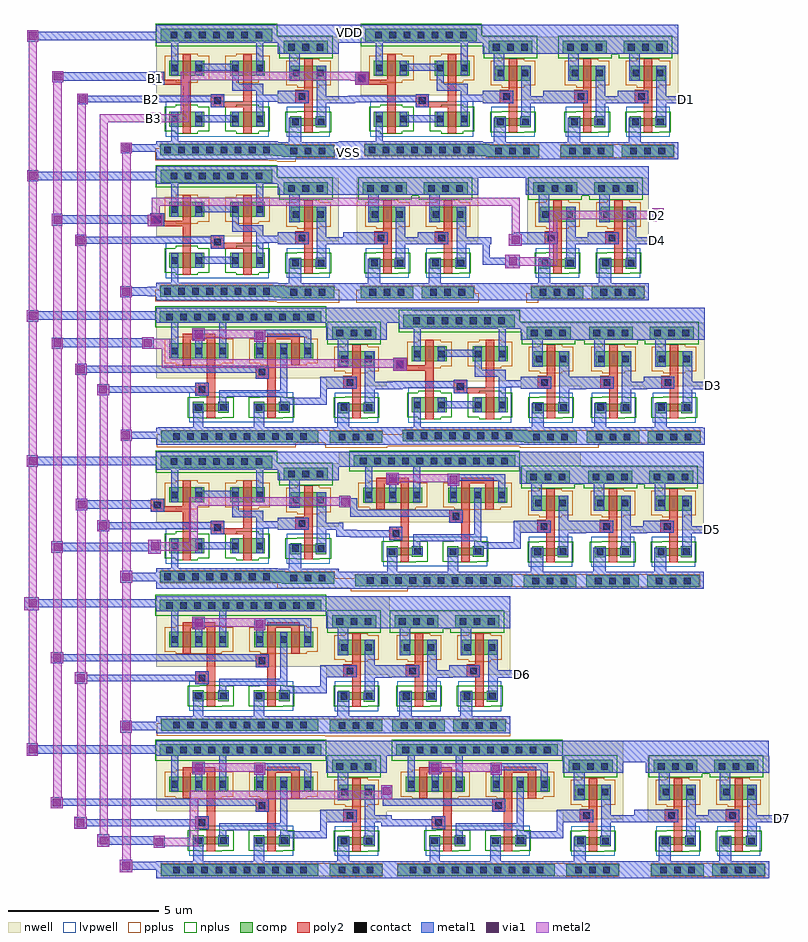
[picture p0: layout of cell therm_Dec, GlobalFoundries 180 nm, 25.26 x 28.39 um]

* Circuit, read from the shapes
.subckt therm_Dec B1 B2 B3 D1 D2 D3 D4 D5 D6 D7 VDD VSS
XM1 AND_5/SD1 B2 VSS VSS nfet_03v3 w=0.5u l=0.28u
XM2 AND_11/SD1 B1 VSS VSS nfet_03v3 w=0.5u l=0.28u
XM3 AND_15/SD1 B1 VSS VSS nfet_03v3 w=0.5u l=0.28u
XM4 OR_2/SD2 B2 VSS VSS nfet_03v3 w=0.25u l=0.28u
XM5 OR_1/SD2 B2 VSS VSS nfet_03v3 w=0.25u l=0.28u
XM6 OR_8/SD2 B3 VSS VSS nfet_03v3 w=0.25u l=0.28u
XM7 AND_5/SD2 B3 AND_5/SD1 VSS nfet_03v3 w=0.5u l=0.28u
XM8 AND_11/SD2 B2 AND_11/SD1 VSS nfet_03v3 w=0.5u l=0.28u
XM9 AND_15/SD2 B2 AND_15/SD1 VSS nfet_03v3 w=0.5u l=0.28u
XM10 OR_2/SD2 B1 VSS VSS nfet_03v3 w=0.25u l=0.28u
XM11 OR_1/SD2 B1 VSS VSS nfet_03v3 w=0.25u l=0.28u
XM12 OR_8/SD2 B2 VSS VSS nfet_03v3 w=0.25u l=0.28u
XM13 OR_6/B AND_5/SD2 VSS VSS nfet_03v3 w=0.25u l=0.28u
XM14 INV_BUFF_12/IN AND_11/SD2 VSS VSS nfet_03v3 w=0.25u l=0.28u
XM15 AND_14/B AND_15/SD2 VSS VSS nfet_03v3 w=0.25u l=0.28u
XM16 OR_3/B OR_2/SD2 VSS VSS nfet_03v3 w=0.25u l=0.28u
XM17 INV_BUFF_0/IN OR_1/SD2 VSS VSS nfet_03v3 w=0.25u l=0.28u
XM18 AND_9/B OR_8/SD2 VSS VSS nfet_03v3 w=0.25u l=0.28u
XM19 INV_BUFF_12/SD1 INV_BUFF_12/IN VSS VSS nfet_03v3 w=0.25u l=0.28u
XM20 AND_14/SD1 B3 VSS VSS nfet_03v3 w=0.5u l=0.28u
XM21 OR_6/SD2 OR_6/B VSS VSS nfet_03v3 w=0.25u l=0.28u
XM22 INV_BUFF_0/SD1 INV_BUFF_0/IN VSS VSS nfet_03v3 w=0.25u l=0.28u
XM23 AND_9/SD1 B1 VSS VSS nfet_03v3 w=0.5u l=0.28u
XM24 OR_3/SD2 OR_3/B VSS VSS nfet_03v3 w=0.25u l=0.28u
XM25 D2 INV_BUFF_12/SD1 VSS VSS nfet_03v3 w=0.25u l=0.28u
XM26 AND_14/SD2 AND_14/B AND_14/SD1 VSS nfet_03v3 w=0.5u l=0.28u
XM27 OR_6/SD2 B1 VSS VSS nfet_03v3 w=0.25u l=0.28u
XM28 D6 INV_BUFF_0/SD1 VSS VSS nfet_03v3 w=0.25u l=0.28u
XM29 AND_9/SD2 AND_9/B AND_9/SD1 VSS nfet_03v3 w=0.5u l=0.28u
XM30 OR_3/SD2 B3 VSS VSS nfet_03v3 w=0.25u l=0.28u
XM31 INV_BUFF_16/IN AND_14/SD2 VSS VSS nfet_03v3 w=0.25u l=0.28u
XM32 INV_BUFF_7/IN OR_6/SD2 VSS VSS nfet_03v3 w=0.25u l=0.28u
XM33 INV_BUFF_10/IN AND_9/SD2 VSS VSS nfet_03v3 w=0.25u l=0.28u
XM34 INV_BUFF_13/SD1 B1 VSS VSS nfet_03v3 w=0.25u l=0.28u
XM35 INV_BUFF_16/SD1 INV_BUFF_16/IN VSS VSS nfet_03v3 w=0.25u l=0.28u
XM36 INV_BUFF_4/IN OR_3/SD2 VSS VSS nfet_03v3 w=0.25u l=0.28u
XM37 INV_BUFF_7/SD1 INV_BUFF_7/IN VSS VSS nfet_03v3 w=0.25u l=0.28u
XM38 INV_BUFF_10/SD1 INV_BUFF_10/IN VSS VSS nfet_03v3 w=0.25u l=0.28u
XM39 D4 INV_BUFF_13/SD1 VSS VSS nfet_03v3 w=0.25u l=0.28u
XM40 D1 INV_BUFF_16/SD1 VSS VSS nfet_03v3 w=0.25u l=0.28u
XM41 D5 INV_BUFF_7/SD1 VSS VSS nfet_03v3 w=0.25u l=0.28u
XM42 D3 INV_BUFF_10/SD1 VSS VSS nfet_03v3 w=0.25u l=0.28u
XM43 INV_BUFF_4/SD1 INV_BUFF_4/IN VSS VSS nfet_03v3 w=0.25u l=0.28u
XM44 D7 INV_BUFF_4/SD1 VSS VSS nfet_03v3 w=0.25u l=0.28u
XM45 OR_2/SD1 B2 VDD VDD pfet_03v3 w=0.5u l=0.28u m=2
XM46 OR_1/SD1 B2 VDD VDD pfet_03v3 w=0.5u l=0.28u m=2
XM47 AND_5/SD2 B2 VDD VDD pfet_03v3 w=0.5u l=0.28u
XM48 OR_8/SD1 B3 VDD VDD pfet_03v3 w=0.5u l=0.28u m=2
XM49 AND_11/SD2 B1 VDD VDD pfet_03v3 w=0.5u l=0.28u
XM50 AND_15/SD2 B1 VDD VDD pfet_03v3 w=0.5u l=0.28u
XM51 VDD B3 AND_5/SD2 VDD pfet_03v3 w=0.5u l=0.28u
XM52 VDD B2 AND_11/SD2 VDD pfet_03v3 w=0.5u l=0.28u
XM53 VDD B2 AND_15/SD2 VDD pfet_03v3 w=0.5u l=0.28u
XM54 OR_2/SD2 B1 OR_2/SD1 VDD pfet_03v3 w=0.5u l=0.28u m=2
XM55 OR_1/SD2 B1 OR_1/SD1 VDD pfet_03v3 w=0.5u l=0.28u m=2
XM56 OR_8/SD2 B2 OR_8/SD1 VDD pfet_03v3 w=0.5u l=0.28u m=2
XM57 OR_6/B AND_5/SD2 VDD VDD pfet_03v3 w=0.5u l=0.28u
XM58 INV_BUFF_12/IN AND_11/SD2 VDD VDD pfet_03v3 w=0.5u l=0.28u
XM59 AND_14/B AND_15/SD2 VDD VDD pfet_03v3 w=0.5u l=0.28u
XM60 OR_3/B OR_2/SD2 VDD VDD pfet_03v3 w=0.5u l=0.28u
XM61 INV_BUFF_0/IN OR_1/SD2 VDD VDD pfet_03v3 w=0.5u l=0.28u
XM62 AND_9/B OR_8/SD2 VDD VDD pfet_03v3 w=0.5u l=0.28u
XM63 OR_6/SD1 OR_6/B VDD VDD pfet_03v3 w=0.5u l=0.28u m=2
XM64 INV_BUFF_12/SD1 INV_BUFF_12/IN VDD VDD pfet_03v3 w=0.5u l=0.28u
XM65 AND_14/SD2 B3 VDD VDD pfet_03v3 w=0.5u l=0.28u
XM66 INV_BUFF_0/SD1 INV_BUFF_0/IN VDD VDD pfet_03v3 w=0.5u l=0.28u
XM67 OR_3/SD1 OR_3/B VDD VDD pfet_03v3 w=0.5u l=0.28u m=2
XM68 AND_9/SD2 B1 VDD VDD pfet_03v3 w=0.5u l=0.28u
XM69 D2 INV_BUFF_12/SD1 VDD VDD pfet_03v3 w=0.5u l=0.28u
XM70 VDD AND_14/B AND_14/SD2 VDD pfet_03v3 w=0.5u l=0.28u
XM71 OR_6/SD2 B1 OR_6/SD1 VDD pfet_03v3 w=0.5u l=0.28u m=2
XM72 D6 INV_BUFF_0/SD1 VDD VDD pfet_03v3 w=0.5u l=0.28u
XM73 VDD AND_9/B AND_9/SD2 VDD pfet_03v3 w=0.5u l=0.28u
XM74 OR_3/SD2 B3 OR_3/SD1 VDD pfet_03v3 w=0.5u l=0.28u m=2
XM75 INV_BUFF_16/IN AND_14/SD2 VDD VDD pfet_03v3 w=0.5u l=0.28u
XM76 INV_BUFF_7/IN OR_6/SD2 VDD VDD pfet_03v3 w=0.5u l=0.28u
XM77 INV_BUFF_10/IN AND_9/SD2 VDD VDD pfet_03v3 w=0.5u l=0.28u
XM78 INV_BUFF_13/SD1 B1 VDD VDD pfet_03v3 w=0.5u l=0.28u
XM79 INV_BUFF_16/SD1 INV_BUFF_16/IN VDD VDD pfet_03v3 w=0.5u l=0.28u
XM80 INV_BUFF_4/IN OR_3/SD2 VDD VDD pfet_03v3 w=0.5u l=0.28u
XM81 INV_BUFF_7/SD1 INV_BUFF_7/IN VDD VDD pfet_03v3 w=0.5u l=0.28u
XM82 INV_BUFF_10/SD1 INV_BUFF_10/IN VDD VDD pfet_03v3 w=0.5u l=0.28u
XM83 D4 INV_BUFF_13/SD1 VDD VDD pfet_03v3 w=0.5u l=0.28u
XM84 D1 INV_BUFF_16/SD1 VDD VDD pfet_03v3 w=0.5u l=0.28u
XM85 D5 INV_BUFF_7/SD1 VDD VDD pfet_03v3 w=0.5u l=0.28u
XM86 D3 INV_BUFF_10/SD1 VDD VDD pfet_03v3 w=0.5u l=0.28u
XM87 INV_BUFF_4/SD1 INV_BUFF_4/IN VDD VDD pfet_03v3 w=0.5u l=0.28u
XM88 D7 INV_BUFF_4/SD1 VDD VDD pfet_03v3 w=0.5u l=0.28u
.ends

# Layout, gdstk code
import gdstk
lib = gdstk.Library(unit=1e-6, precision=1e-09)
def R(c, l, rs):  # rectangles x0, y0, x1, y1
    for r in rs: c.add(gdstk.rectangle(r[:2], r[2:], *l))
def A(c, l, x, y, w, h, nx, ny, dx, dy):  # array of equal rectangles
    R(c, l, [(x+i*dx, y+j*dy, x+i*dx+w, y+j*dy+h) for i in range(nx) for j in range(ny)])
nwell = (21, 0)
comp = (22, 0)
poly2 = (30, 0)
pplus = (31, 0)
nplus = (32, 0)
contact = (33, 0)
metal1 = (34, 0)
via1 = (35, 0)
metal2 = (36, 0)
lvpwell = (204, 0)

pmos_3p3_m8rwps = lib.new_cell('pmos_3p3_M8RWPS')
R(pmos_3p3_m8rwps, nwell, [(-1.01,-0.9,1.01,0.9)])
R(pmos_3p3_m8rwps, comp, [(-0.58,-0.25,0.58,0.25)])
R(pmos_3p3_m8rwps, poly2, [(-0.14,-0.47,0.14,0.47)])
R(pmos_3p3_m8rwps, pplus, [(-0.37,-0.48,0.37,-0.41), (-0.74,-0.41,0.74,0.41), (-0.37,0.41,0.37,0.48)])
R(pmos_3p3_m8rwps, contact, [(-0.51,-0.11,-0.29,0.11), (0.29,-0.11,0.51,0.11)])
R(pmos_3p3_m8rwps, metal1, [(-0.515,-0.24,-0.285,0.24), (0.285,-0.24,0.515,0.24)])

nmos_3p3_h9qvwa = lib.new_cell('nmos_3p3_H9QVWA')
R(nmos_3p3_h9qvwa, comp, [(-0.6,-0.18,-0.24,-0.125), (0.24,-0.18,0.6,-0.125), (-0.6,-0.125,0.6,0.125), (-0.6,0.125,-0.24,0.18), (0.24,0.125,0.6,0.18)])
R(nmos_3p3_h9qvwa, poly2, [(-0.14,-0.345,0.14,0.345)])
R(nmos_3p3_h9qvwa, nplus, [(-0.37,-0.355,0.37,-0.34), (-0.76,-0.34,0.76,0.34), (-0.37,0.34,0.37,0.355)])
R(nmos_3p3_h9qvwa, contact, [(-0.53,-0.11,-0.31,0.11), (0.31,-0.11,0.53,0.11)])
R(nmos_3p3_h9qvwa, metal1, [(-0.59,-0.115,-0.25,0.115), (0.25,-0.115,0.59,0.115)])
R(nmos_3p3_h9qvwa, lvpwell, [(-0.72,-0.495,0.72,0.495)])

inverter = lib.new_cell('Inverter')
R(inverter, nwell, [(-0.59,0.79,0.43,1.195), (0.005,1.195,0.43,1.225), (-0.21,1.525,0.14,2.43), (-0.59,2.43,1.43,2.995)])
R(inverter, comp, [(-0.46,-1,1.28,-0.615), (-0.39,2.435,1.07,2.86)])
R(inverter, poly2, [(0.28,0.51,0.56,0.79), (-0.015,0.79,0.56,1.225), (0.28,1.225,0.56,1.315)])
R(inverter, pplus, [(-0.48,-1.02,1.3,-0.595), (-0.46,-0.595,1.275,-0.585)])
R(inverter, nplus, [(-0.55,2.275,1.23,3.02)])
A(inverter, contact, -0.175, -0.915, 0.22, 0.22, 3, 1, 0.47, 0)
A(inverter, contact, -0.245, 2.535, 0.22, 0.22, 3, 1, 0.47, 0)
R(inverter, contact, [(0.1,0.895,0.32,1.115)])
R(inverter, metal1, [(-0.59,-1.07,1.43,-0.505), (-0.225,-0.505,0.18,0.305), (0.7,0.045,1.02,0.785), (0.7,0.785,1.43,1.02), (-0.59,0.79,0.43,1.195), (0.7,1.02,1.02,2.035), (-0.21,1.525,0.14,2.43), (-0.59,2.43,1.43,2.995)])
inverter.add(gdstk.Reference(pmos_3p3_m8rwps, (0.42,1.785)))
inverter.add(gdstk.Reference(nmos_3p3_h9qvwa, (0.42,0.165)))
inverter.add(gdstk.Label('VDD', (0.335,2.65), layer=22, texttype=0))
inverter.add(gdstk.Label('VSS', (0.405,-0.81), layer=22, texttype=0))
inverter.add(gdstk.Label('IN', (-0.475,0.995), layer=34, texttype=10))
inverter.add(gdstk.Label('OUT', (1.36,0.86), layer=34, texttype=10))

inv_buff = lib.new_cell('INV_BUFF')
R(inv_buff, pplus, [(1.89,0.05,2.13,0.475), (1.865,0.475,2.15,0.485)])
R(inv_buff, nplus, [(1.82,3.475,2.06,4.09)])
R(inv_buff, metal1, [(-0.055,0,0,0.01), (-0.055,0.01,3.99,0.29), (-0.055,0.29,0,0.565), (1.975,1.855,2.135,2.09), (3.805,1.855,4.29,2.09), (-0.45,1.86,0.405,2.265), (-0.055,3.5,0,3.71), (-0.055,3.71,4.025,4.065)])
inv_buff.add(gdstk.Reference(inverter, (0.59,1.07)))
inv_buff.add(gdstk.Reference(inverter, (2.61,1.07)))
inv_buff.add(gdstk.Label('IN', (-0.245,2.035), layer=34, texttype=10))
inv_buff.add(gdstk.Label('OUT', (4.21,1.965), layer=34, texttype=10))
inv_buff.add(gdstk.Label('VDD', (1.9,3.8), layer=34, texttype=10))
inv_buff.add(gdstk.Label('VSS', (2,0.2), layer=34, texttype=10))
inv_buff.add(gdstk.Label('SD1', (2,1.9), layer=34, texttype=10))

pmos_3p3_mgrwps = lib.new_cell('pmos_3p3_MGRWPS')
R(pmos_3p3_mgrwps, nwell, [(-1.41,-0.9,1.41,0.9)])
R(pmos_3p3_mgrwps, comp, [(-0.98,-0.25,0.98,0.25)])
R(pmos_3p3_mgrwps, poly2, [(-0.54,-0.47,-0.26,0.47), (0.26,-0.47,0.54,0.47)])
R(pmos_3p3_mgrwps, pplus, [(-0.77,-0.48,0.77,-0.41), (-1.14,-0.41,1.14,0.41), (-0.77,0.41,0.77,0.48)])
A(pmos_3p3_mgrwps, contact, -0.91, -0.11, 0.22, 0.22, 3, 1, 0.8, 0)
A(pmos_3p3_mgrwps, metal1, -0.915, -0.24, 0.23, 0.48, 3, 1, 0.8, 0)

c_or = lib.new_cell('OR')
R(c_or, nwell, [(4.49,1.805,4.77,1.9), (3.69,2.755,4.77,2.95), (0.87,2.905,1.95,2.94), (0,3.23,5.64,3.315), (0,3.315,7.66,3.81)])
R(c_or, comp, [(0.17,-0.665,5.385,-0.285), (0.12,3.315,5.48,3.69)])
R(c_or, poly2, [(1.67,0.84,1.95,0.875), (3.69,0.84,3.97,1.45), (1.29,0.875,1.95,1.31), (1.67,1.31,1.95,1.9), (3.295,1.45,3.97,1.885), (3.69,1.885,3.97,1.9), (3.69,2.755,4.77,2.95), (0.87,2.76,1.95,2.94)])
R(c_or, pplus, [(0.15,-0.685,5.75,-0.275), (0.15,-0.275,5.77,-0.265)])
R(c_or, nplus, [(-0.04,3.155,5.64,3.85)])
A(c_or, contact, 0.555, -0.585, 0.22, 0.22, 10, 1, 0.47, 0)
A(c_or, contact, 0.32, 3.395, 0.22, 0.22, 11, 1, 0.47, 0)
R(c_or, contact, [(1.405,0.985,1.625,1.205), (3.405,1.555,3.625,1.775)])
R(c_or, metal1, [(0,-0.75,7.57,-0.185), (1.22,-0.185,1.56,0.61), (3.24,-0.185,3.58,0.61), (2.06,0.38,2.4,0.61), (4.08,0.38,4.42,0.58), (4.08,0.58,5.67,0.61), (2.095,0.61,2.325,0.84), (4.115,0.61,5.67,0.81), (4.115,0.81,4.345,0.84), (5.44,0.81,5.67,1.11), (2.095,0.84,4.345,1.07), (1.29,0.875,1.735,0.975), (0,0.975,1.735,1.205), (4.115,1.07,4.345,2.61), (7.425,1.105,7.83,1.34), (5.44,1.11,6.07,1.515), (1.29,1.205,1.735,1.31), (3.295,1.45,3.74,1.65), (0,1.65,3.74,1.88), (3.295,1.88,3.74,1.885), (0.495,2.13,0.725,3.315), (1.295,2.13,1.525,2.75), (2.095,2.13,2.325,3.315), (3.315,2.13,3.545,2.68), (4.915,2.13,5.145,2.84), (6.02,2.49,6.37,3.095), (3.245,2.68,3.615,2.84), (1.21,2.75,1.605,3.07), (3.245,2.84,5.145,3.07), (3.245,3.07,3.615,3.08), (5.64,3.095,7.635,3.315), (0,3.315,7.66,3.81)])
R(c_or, via1, [(3.3,2.75,3.56,3.01), (1.28,2.795,1.54,3.055)])
R(c_or, metal2, [(3.245,2.68,3.615,2.79), (1.195,2.705,1.615,2.79), (1.195,2.79,3.615,3.07), (1.195,3.07,1.615,3.12), (3.245,3.07,3.615,3.08)])
R(c_or, lvpwell, [(2.53,0,3.11,0.99)])
c_or.add(gdstk.Reference(pmos_3p3_mgrwps, (1.41,2.37)))
c_or.add(gdstk.Reference(pmos_3p3_mgrwps, (4.23,2.37)))
c_or.add(gdstk.Reference(nmos_3p3_h9qvwa, (1.81,0.495)))
c_or.add(gdstk.Reference(nmos_3p3_h9qvwa, (3.83,0.495)))
c_or.add(gdstk.Reference(inverter, (6.23,0.32)))
c_or.add(gdstk.Label('A', (0.065,1.765), layer=34, texttype=10))
c_or.add(gdstk.Label('B', (0.105,1.085), layer=34, texttype=10))
c_or.add(gdstk.Label('VSS', (2.78,-0.47), layer=22, texttype=0))
c_or.add(gdstk.Label('VDD', (2.775,3.515), layer=22, texttype=0))
c_or.add(gdstk.Label('OUT', (7.71,1.195), layer=34, texttype=10))
c_or.add(gdstk.Label('SD1', (3.45,2.4), layer=34, texttype=10))
c_or.add(gdstk.Label('SD2', (2.2,0.5), layer=34, texttype=10))

nmos_3p3_hzs5ua = lib.new_cell('nmos_3p3_HZS5UA')
R(nmos_3p3_hzs5ua, comp, [(-0.58,-0.25,0.58,0.25)])
R(nmos_3p3_hzs5ua, poly2, [(-0.14,-0.47,0.14,0.47)])
R(nmos_3p3_hzs5ua, nplus, [(-0.37,-0.48,0.37,-0.41), (-0.74,-0.41,0.74,0.41), (-0.37,0.41,0.37,0.48)])
R(nmos_3p3_hzs5ua, contact, [(-0.51,-0.11,-0.29,0.11), (0.29,-0.11,0.51,0.11)])
R(nmos_3p3_hzs5ua, metal1, [(-0.515,-0.24,-0.285,0.24), (0.285,-0.24,0.515,0.24)])
R(nmos_3p3_hzs5ua, lvpwell, [(-0.7,-0.59,0.7,0.59)])

and_ = lib.new_cell('AND')
R(and_, nwell, [(0.34,1.775,0.54,1.955), (0.1,3.18,4.14,3.77)])
R(and_, comp, [(3.985,-0.58,4.365,-0.565), (0.23,-0.565,4.365,-0.2), (0.245,3.225,3.95,3.645)])
R(and_, poly2, [(1.915,1.035,3.265,1.11), (0.97,1.11,1.25,1.775), (1.915,1.11,3.27,1.22), (1.915,1.22,2.36,1.47), (2.99,1.22,3.27,1.865), (-0.09,1.775,1.25,1.93), (-0.09,1.93,1.025,1.955), (-0.09,1.955,0.355,2.21)])
R(and_, pplus, [(3.965,-0.6,4.385,-0.595), (0.25,-0.595,4.385,-0.585), (0.21,-0.585,4.385,-0.18), (0.25,-0.18,3.975,-0.175)])
R(and_, nplus, [(0.085,3.065,4.18,3.405), (0.085,3.405,4.11,3.805)])
A(and_, contact, 0.355, -0.495, 0.22, 0.22, 8, 1, 0.47, 0)
A(and_, contact, 0.575, 3.33, 0.22, 0.22, 7, 1, 0.47, 0)
R(and_, contact, [(2.025,1.145,2.245,1.365), (0.02,1.885,0.24,2.105)])
R(and_, metal1, [(0.1,-0.685,4.14,-0.095), (0.595,-0.095,0.825,0.88), (1.395,0.4,1.625,0.535), (2.615,0.4,2.845,0.535), (3.415,0.4,3.645,1.225), (1.395,0.535,2.845,0.765), (1.395,0.765,1.625,0.88), (2.615,0.765,2.845,0.88), (1.915,1.035,2.36,1.195), (5.925,1.17,6.315,1.405), (-0.09,1.195,2.36,1.425), (3.415,1.225,4.265,1.455), (1.915,1.425,2.36,1.47), (3.415,1.455,3.645,1.585), (2.615,1.585,3.645,1.815), (-0.09,1.775,0.355,2.21), (2.615,1.815,2.845,2.245), (0.595,2.095,0.825,3.18), (1.395,2.095,1.625,2.245), (3.415,2.095,3.645,3.18), (1.395,2.245,2.845,2.475), (1.395,2.475,1.625,2.575), (2.615,2.475,2.845,2.575), (0.1,3.18,4.14,3.38), (0.1,3.38,6.16,3.77)])
R(and_, lvpwell, [(1.81,0.05,2.43,1.23), (2.465,1.035,3.265,1.08)])
and_.add(gdstk.Reference(pmos_3p3_m8rwps, (1.11,2.335)))
and_.add(gdstk.Reference(pmos_3p3_m8rwps, (3.13,2.335)))
and_.add(gdstk.Reference(nmos_3p3_hzs5ua, (3.13,0.64)))
and_.add(gdstk.Reference(nmos_3p3_hzs5ua, (1.11,0.64)))
and_.add(gdstk.Reference(inverter, (4.73,0.385)))
and_.add(gdstk.Label('VDD', (2.085,3.45), layer=22, texttype=0))
and_.add(gdstk.Label('VSS', (2.11,-0.365), layer=22, texttype=0))
and_.add(gdstk.Label('OUT', (6.225,1.295), layer=34, texttype=10))
and_.add(gdstk.Label('A', (0.125,1.99), layer=30, texttype=10))
and_.add(gdstk.Label('B', (0.075,1.26), layer=34, texttype=10))
and_.add(gdstk.Label('SD1', (1.5,0.65), layer=34, texttype=10))
and_.add(gdstk.Label('SD2', (2.7,2.35), layer=34, texttype=10))

therm_dec = lib.new_cell('therm_Dec')
R(therm_dec, nwell, [(7.85,-21.68,8.09,-21.2), (7.675,-21.2,8.09,-20.845), (7.85,-20.845,8.09,-19.34), (7.85,-17.135,7.95,-14.53), (14.295,-12.43,14.48,-10.225), (6.25,-12.07,6.635,-10.225), (6.245,-10.225,6.635,-9.73), (14.315,-7.64,14.48,-5.435), (7.85,-7.38,8.67,-4.94), (13.05,1.86,13.575,4.065)])
R(therm_dec, pplus, [(5.8,-19.18,11.955,-19.165), (0.2,-19.165,11.955,-19.04), (0.2,-19.04,5.94,-19.025), (7.72,-19.04,8.015,-18.615), (11.815,-19.04,11.955,-18.75), (0.2,-19.025,0.34,-18.75), (7.695,-18.615,8.035,-18.605), (6.645,-14.365,8.54,-14.275), (4.2,-14.275,8.54,-14.225), (14.165,-14.24,14.46,-13.815), (4.2,-14.225,6.785,-14.135), (4.2,-14.135,4.34,-14.1), (6.12,-14.135,6.785,-13.94), (14.14,-13.815,14.48,-13.805), (5.8,-9.59,7.86,-9.54), (12.265,-9.59,14.885,-9.555), (0.2,-9.575,4.82,-9.435), (11.98,-9.555,14.885,-9.54), (5.8,-9.54,14.885,-9.45), (5.8,-9.45,5.94,-9.435), (7.72,-9.45,12.405,-9.415), (14.185,-9.45,14.48,-9.025), (0.2,-9.435,0.34,-9.14), (7.72,-9.415,12.12,-9.41), (7.72,-9.41,8.405,-9.4), (7.72,-9.4,8.365,-9.14), (14.16,-9.025,14.5,-9.015), (4.2,-4.785,6.26,-4.75), (6.825,-4.785,10.905,-4.645), (12.485,-4.785,12.885,-4.645), (3.915,-4.75,6.26,-4.735), (0.16,-4.735,6.26,-4.645), (0.16,-4.645,4.34,-4.61), (6.12,-4.645,6.26,-4.35), (6.825,-4.645,6.965,-4.35), (10.765,-4.645,10.905,-4.455), (12.485,-4.645,12.625,-4.455), (0.16,-4.61,4.055,-4.605), (0.16,-4.605,0.34,-4.595), (0.16,-4.595,0.3,-4.35), (4.2,-0.09,4.82,-0.055), (3.915,-0.055,4.82,-0.04), (0.16,-0.04,4.82,0.05), (0.16,0.05,4.34,0.085), (0.16,0.085,4.055,0.09), (0.16,0.09,0.34,0.1), (0.16,0.1,0.3,0.35)])
R(therm_dec, nplus, [(14.095,-10.815,14.39,-10.2), (14.115,-6.025,14.41,-5.41)])
R(therm_dec, metal1, [(0.27,-23.9,20.5,-23.63), (-1.02,-23.71,-0.62,-23.63), (-1.02,-23.63,20.5,-23.35), (-1.02,-23.35,-0.62,-23.29), (0.27,-23.35,20.5,-23.335), (0.095,-22.9,0.46,-22.79), (-1.775,-22.86,-1.37,-22.79), (-1.775,-22.79,0.46,-22.51), (-1.775,-22.51,-1.37,-22.45), (0.095,-22.51,0.46,-22.5), (-2.54,-22.25,-2.14,-22.175), (-2.54,-22.175,0.42,-21.945), (7.67,-22.175,8.08,-21.945), (15.645,-22.045,16.22,-21.81), (20.57,-22.045,21.05,-21.81), (-2.54,-21.945,-2.14,-21.875), (-3.32,-21.575,-2.915,-21.5), (-3.32,-21.5,0.42,-21.27), (7.715,-21.5,8.08,-21.275), (7.67,-21.275,8.08,-21.27), (-3.32,-21.27,-2.915,-21.205), (7.67,-21.27,8.035,-20.815), (14.995,-20.055,20.55,-19.835), (-4.125,-19.835,-3.75,-19.76), (0.205,-19.835,20.55,-19.76), (-4.125,-19.76,20.55,-19.48), (-4.125,-19.48,-3.75,-19.42), (0.205,-19.48,20.55,-19.34), (-1.01,-19.07,-0.635,-18.99), (0.19,-19.06,11.91,-18.99), (-1.01,-18.99,11.91,-18.74), (-1.01,-18.74,0.23,-18.71), (-1.01,-18.71,-0.635,-18.665), (-2.515,-17.44,-2.11,-17.365), (-2.515,-17.365,0.42,-17.135), (11.96,-17.235,12.425,-17), (-2.515,-17.135,-2.11,-17.065), (7.355,-17.02,7.62,-16.825), (-3.32,-16.755,-2.91,-16.69), (-3.32,-16.69,0.42,-16.46), (-3.32,-16.46,-2.91,-16.39), (7.85,-15.025,11.945,-14.905), (-4.21,-14.995,-3.72,-14.905), (-4.21,-14.905,11.945,-14.625), (-4.21,-14.625,-3.72,-14.56), (7.85,-14.625,11.945,-14.53), (0.19,-14.29,18.28,-14.17), (0.22,-14.17,18.28,-14.03), (-1.01,-14.085,-0.605,-14.03), (-1.01,-14.03,18.28,-13.75), (-1.01,-13.75,-0.605,-13.69), (0.22,-13.75,18.28,-13.725), (-0.075,-13.115,0.335,-13.035), (-3.31,-13.085,-2.915,-13.035), (-3.31,-13.035,0.335,-12.755), (-3.31,-12.755,-2.915,-12.705), (-0.075,-12.755,0.335,-12.66), (6.165,-12.555,6.85,-12.32), (18.405,-12.435,18.805,-12.2), (-1.78,-12.37,-1.375,-12.305), (6.165,-12.32,6.4,-12.095), (-1.78,-12.305,0.23,-12.075), (13.79,-12.2,13.9,-12.025), (-1.78,-12.075,-1.375,-12.005), (6.635,-11.89,6.865,-11.575), (-2.495,-11.67,-2.105,-11.625), (-2.495,-11.625,0.165,-11.345), (6.265,-11.575,6.865,-11.275), (-2.495,-11.345,-2.105,-11.29), (6.265,-11.275,6.645,-11.25), (6.265,-11.25,6.64,-11.2), (-4.115,-10.23,-3.745,-10.18), (0.255,-10.225,18.39,-10.18), (-4.115,-10.18,18.39,-9.9), (-4.115,-9.9,-3.745,-9.845), (0.255,-9.9,18.39,-9.73), (0.255,-9.5,18.345,-9.305), (-1,-9.365,-0.635,-9.305), (-1,-9.305,18.345,-9.06), (-1,-9.06,-0.635,-9), (0.255,-9.06,18.345,-8.91), (-1.77,-7.845,-1.37,-7.775), (-1.77,-7.775,0.42,-7.545), (7.785,-7.645,8.38,-7.41), (18.425,-7.645,18.795,-7.41), (-1.77,-7.545,-1.37,-7.48), (13.86,-7.46,14.09,-7.235), (-2.51,-7.165,-2.12,-7.1), (-2.51,-7.1,0.42,-6.87), (8.13,-6.965,8.445,-6.67), (-2.51,-6.87,-2.12,-6.805), (-3.29,-6.3,-2.915,-6.25), (-0.285,-6.3,0.095,-6.25), (-3.29,-6.25,0.095,-5.965), (-3.29,-5.965,-2.915,-5.935), (-0.285,-5.965,0.095,-5.925), (0.205,-5.435,18.41,-5.345), (-4.125,-5.405,-3.735,-5.345), (-4.125,-5.345,18.41,-5.065), (-4.125,-5.065,-3.735,-5.025), (0.205,-5.065,18.41,-4.94), (0.22,-4.695,16.48,-4.565), (-1.005,-4.59,-0.635,-4.55), (-0.095,-4.565,16.48,-4.55), (-1.005,-4.55,16.48,-4.27), (-1.005,-4.27,-0.635,-4.23), (-0.095,-4.27,16.48,-4.245), (0.22,-4.245,16.48,-4.13), (11.79,-3.63,12.26,-3.52), (11.04,-3.52,12.26,-3.285), (11.04,-3.285,11.275,-2.84), (11.79,-3.285,12.26,-3.175), (11.9,-2.885,12.33,-2.505), (-2.5,-2.88,-2.14,-2.815), (10.91,-2.84,11.32,-2.605), (16.57,-2.84,17.035,-2.605), (-2.5,-2.815,0.23,-2.585), (11.04,-2.605,11.275,-2.6), (-2.5,-2.585,-2.14,-2.52), (-0.02,-2.235,0.395,-2.23), (-0.105,-2.23,0.395,-2.155), (-3.29,-2.215,-2.935,-2.155), (-3.29,-2.155,0.395,-1.875), (16.665,-2.07,17.05,-1.645), (-3.29,-1.875,-2.935,-1.815), (-0.105,-1.875,0.395,-1.85), (-0.02,-1.85,0.395,-1.8), (6.25,-1.195,10.895,-0.63), (-4.11,-0.745,-3.74,-0.7), (-4.11,-0.7,0.25,-0.63), (-4.11,-0.63,16.555,-0.42), (-4.11,-0.42,-3.74,-0.375), (0.205,-0.42,16.555,-0.24), (0.27,0,17.43,0.24), (-0.99,0.185,-0.63,0.24), (-0.99,0.24,17.43,0.485), (-0.99,0.485,-0.63,0.545), (0.27,0.485,17.43,0.565), (6.25,0.565,6.99,0.59), (-0.06,1.17,0.34,1.54), (-2.445,1.815,-2.085,1.88), (6.17,1.855,6.8,2.09), (17.79,1.855,17.84,2.09), (-2.445,1.88,0.18,2.11), (6.57,2.09,6.8,2.11), (-2.445,2.11,-2.085,2.175), (-0.05,2.46,0.445,2.6), (6.865,2.535,7.18,2.83), (-3.275,2.555,-2.905,2.6), (-3.275,2.6,0.445,2.88), (-3.275,2.88,-2.905,2.925), (-0.05,2.88,0.445,2.895), (13.05,3.5,17.54,3.865), (0.255,3.865,17.54,3.955), (-4.105,3.905,-3.735,3.955), (-4.105,3.955,17.54,4.235), (-4.105,4.235,-3.735,4.28), (0.255,4.235,17.54,4.455)])
R(therm_dec, via1, [(-0.94,-23.62,-0.68,-23.36), (0.16,-22.83,0.42,-22.57), (-1.69,-22.78,-1.43,-22.52), (-2.46,-22.19,-2.2,-21.93), (-3.25,-21.515,-2.99,-21.255), (7.72,-21.135,7.98,-20.875), (-4.05,-19.75,-3.79,-19.49), (-0.94,-18.98,-0.68,-18.72), (-2.445,-17.38,-2.185,-17.12), (-3.24,-16.705,-2.98,-16.445), (-4.05,-14.895,-3.79,-14.635), (-0.94,-14.02,-0.68,-13.76), (-3.22,-13.025,-2.96,-12.765), (0.02,-13.005,0.28,-12.745), (-1.71,-12.32,-1.45,-12.06), (-2.425,-11.615,-2.165,-11.355), (6.335,-11.52,6.595,-11.26), (-4.05,-10.17,-3.79,-9.91), (-0.95,-9.31,-0.69,-9.05), (-1.715,-7.79,-1.455,-7.53), (-2.45,-7.115,-2.19,-6.855), (8.155,-6.95,8.415,-6.69), (-0.23,-6.245,0.03,-5.985), (-3.225,-6.24,-2.965,-5.98), (-4.05,-5.335,-3.79,-5.075), (-0.94,-4.54,-0.68,-4.28), (11.915,-3.53,12.175,-3.27), (-2.45,-2.83,-2.19,-2.57), (12.005,-2.815,12.265,-2.555), (-3.22,-2.145,-2.96,-1.885), (0.04,-2.145,0.3,-1.885), (16.71,-1.99,16.97,-1.73), (-4.05,-0.69,-3.79,-0.43), (-0.94,0.235,-0.68,0.495), (0.01,1.225,0.27,1.485), (-2.395,1.865,-2.135,2.125), (6.89,2.55,7.15,2.81), (-3.22,2.61,-2.96,2.87), (-4.05,3.965,-3.79,4.225)])
R(therm_dec, metal2, [(-1.02,-23.71,-0.62,-23.29), (-0.95,-23.29,-0.67,-19.07), (0.095,-22.9,0.46,-22.84), (-1.775,-22.86,-1.37,-22.45), (0.095,-22.84,1.585,-22.56), (0.095,-22.56,0.46,-22.5), (1.305,-22.56,1.585,-21.28), (-1.7,-22.45,-1.42,-12.37), (-2.545,-22.265,-2.13,-21.855), (-2.435,-21.855,-2.155,-17.44), (-3.32,-21.575,-2.915,-21.205), (1.305,-21.28,7.85,-21.275), (1.305,-21.275,8.035,-21), (-3.23,-21.205,-2.95,-16.755), (7.665,-21,8.035,-20.815), (-4.125,-19.835,-3.75,-19.42), (-4.06,-19.42,-3.78,-14.995), (-1.01,-19.07,-0.635,-18.665), (-0.95,-18.665,-0.67,-14.085), (-2.515,-17.44,-2.11,-17.065), (-2.435,-17.065,-2.155,-11.67), (-3.32,-16.755,-2.91,-16.39), (-3.23,-16.39,-2.95,-13.085), (-4.21,-14.995,-3.72,-14.56), (-4.06,-14.56,-3.78,-10.23), (-1.01,-14.085,-0.605,-13.69), (-0.95,-13.69,-0.67,-9.365), (-0.075,-13.115,0.335,-13.015), (-3.31,-13.085,-2.915,-12.705), (-0.075,-13.015,1.57,-12.735), (-0.075,-12.735,0.335,-12.66), (1.29,-12.735,1.57,-11.53), (-3.23,-12.705,-2.95,-6.3), (-1.78,-12.37,-1.375,-12.005), (-1.7,-12.005,-1.42,-7.845), (-2.495,-11.67,-2.105,-11.29), (6.265,-11.575,6.64,-11.53), (1.29,-11.53,6.64,-11.25), (-2.435,-11.29,-2.155,-7.165), (6.265,-11.25,6.64,-11.2), (-4.115,-10.23,-3.745,-9.845), (-4.06,-9.845,-3.78,-5.405), (-1,-9.365,-0.635,-9), (-0.95,-9,-0.67,-4.59), (-1.77,-7.845,-1.37,-7.48), (-1.7,-7.48,-1.42,1.215), (-2.51,-7.165,-2.12,-6.805), (8.065,-7.04,8.51,-6.945), (0.365,-6.945,8.51,-6.66), (-2.435,-6.805,-2.155,-2.88), (0.365,-6.66,0.65,-6.3), (8.065,-6.66,8.51,-6.605), (-3.29,-6.3,-2.915,-5.935), (-0.285,-6.3,0.65,-5.97), (-0.285,-5.97,0.095,-5.925), (-3.23,-5.935,-2.95,-2.215), (-4.125,-5.405,-3.735,-5.025), (-4.06,-5.025,-3.78,-0.745), (-1.005,-4.59,-0.635,-4.23), (-0.95,-4.23,-0.67,0.185), (11.79,-3.63,12.26,-3.54), (11.79,-3.54,13.52,-3.26), (11.79,-3.26,12.26,-3.175), (13.24,-3.26,13.52,-2), (11.9,-2.885,12.33,-2.505), (-2.5,-2.88,-2.14,-2.52), (-2.435,-2.52,-2.155,1.815), (11.995,-2.505,12.275,-1.56), (-0.105,-2.23,0.365,-1.85), (-3.29,-2.215,-2.935,-1.815), (16.665,-2.07,17.05,-2), (13.24,-2,17.05,-1.72), (0.03,-1.85,0.31,-1.56), (-3.23,-1.815,-2.95,2.555), (16.665,-1.72,17.05,-1.645), (0.03,-1.56,12.275,-1.28), (-4.11,-0.745,-3.74,-0.375), (-4.06,-0.375,-3.78,3.905), (-0.99,0.185,-0.63,0.545), (-0.06,1.17,0.34,1.215), (-1.7,1.215,1.28,1.495), (-0.06,1.495,0.34,1.54), (1,1.495,1.28,2.615), (-2.445,1.815,-2.085,2.175), (6.8,2.46,7.245,2.605), (-3.275,2.555,-2.905,2.925), (6.645,2.605,7.245,2.615), (1,2.615,7.245,2.895), (-4.105,3.905,-3.735,4.28)])
therm_dec.add(gdstk.Reference(inv_buff, (7.905,-19.09)))
therm_dec.add(gdstk.Reference(c_or, (0.19,-18.34)))
therm_dec.add(gdstk.Reference(c_or, (0.19,-23.15)))
therm_dec.add(gdstk.Reference(c_or, (8.05,-23.15)))
therm_dec.add(gdstk.Reference(inv_buff, (16.515,-23.9)))
therm_dec.add(gdstk.Reference(and_, (0.09,-13.5)))
therm_dec.add(gdstk.Reference(c_or, (6.635,-13.54)))
therm_dec.add(gdstk.Reference(inv_buff, (14.35,-14.29)))
therm_dec.add(gdstk.Reference(c_or, (0.19,-8.75)))
therm_dec.add(gdstk.Reference(and_, (8.155,-8.815)))
therm_dec.add(gdstk.Reference(inv_buff, (14.37,-9.5)))
therm_dec.add(gdstk.Reference(and_, (0.09,-4.01)))
therm_dec.add(gdstk.Reference(inv_buff, (6.855,-4.695)))
therm_dec.add(gdstk.Reference(inv_buff, (12.515,-4.695)))
therm_dec.add(gdstk.Reference(and_, (6.89,0.685)))
therm_dec.add(gdstk.Reference(and_, (0.09,0.685)))
therm_dec.add(gdstk.Reference(inv_buff, (13.5,0)))
therm_dec.add(gdstk.Label('B1', (0.17,2.68), layer=34, texttype=10))
therm_dec.add(gdstk.Label('B2', (0.02,1.99), layer=34, texttype=10))
therm_dec.add(gdstk.Label('B3', (0.09,1.35), layer=34, texttype=10))
therm_dec.add(gdstk.Label('VDD', (6.6,4.205), layer=34, texttype=10))
therm_dec.add(gdstk.Label('VSS', (6.57,0.23), layer=34, texttype=10))
therm_dec.add(gdstk.Label('D1', (17.81,1.98), layer=34, texttype=10))
therm_dec.add(gdstk.Label('D2', (16.835,-1.865), layer=34, texttype=10))
therm_dec.add(gdstk.Label('D4', (16.86,-2.715), layer=34, texttype=10))
therm_dec.add(gdstk.Label('D3', (18.705,-7.53), layer=34, texttype=10))
therm_dec.add(gdstk.Label('D5', (18.685,-12.305), layer=34, texttype=10))
therm_dec.add(gdstk.Label('D6', (12.355,-17.13), layer=34, texttype=10))
therm_dec.add(gdstk.Label('D7', (21,-21.91), layer=34, texttype=10))

lib.write_gds('therm_Dec.gds')
